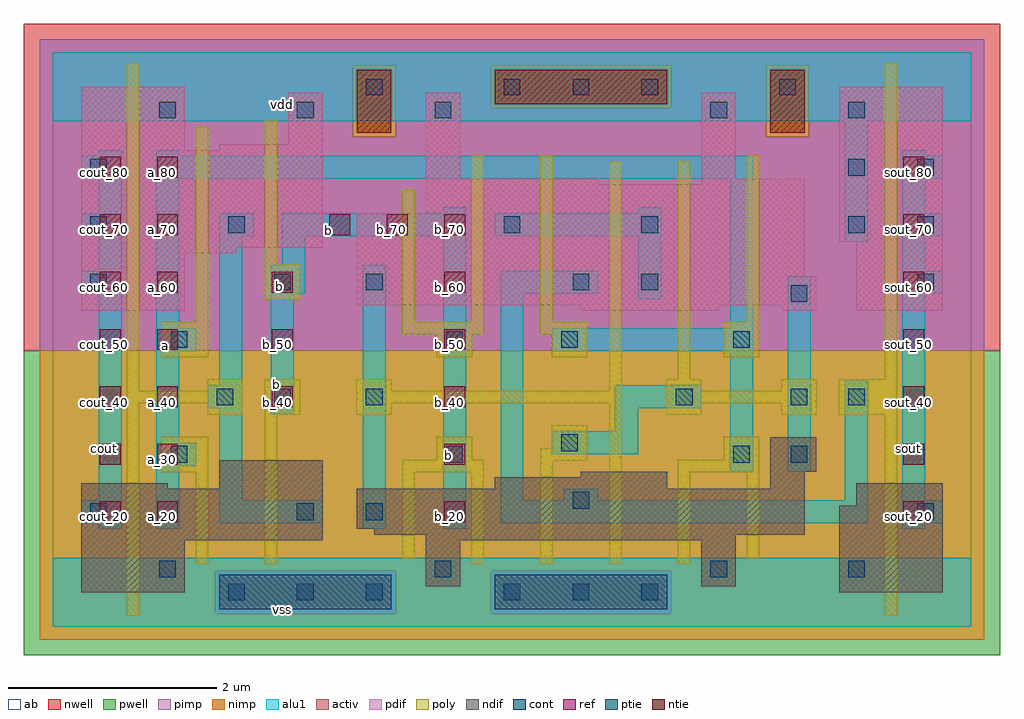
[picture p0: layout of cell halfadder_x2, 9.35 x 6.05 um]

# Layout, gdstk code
import gdstk
lib = gdstk.Library(unit=1e-6, precision=2.5e-09)
def R(c, l, rs):  # rectangles x0, y0, x1, y1
    for r in rs: c.add(gdstk.rectangle(r[:2], r[2:], *l))
def A(c, l, x, y, w, h, nx, ny, dx, dy):  # array of equal rectangles
    R(c, l, [(x+i*dx, y+j*dy, x+i*dx+w, y+j*dy+h) for i in range(nx) for j in range(ny)])
ndif = (3, 0)
pdif = (4, 0)
ntie = (5, 0)
ptie = (6, 0)
ref = (24, 0)
cont = (25, 0)
pwell = (41, 0)
nwell = (42, 0)
activ = (43, 0)
pimp = (44, 0)
nimp = (45, 0)
poly = (46, 0)
alu1 = (49, 0)
ab = (63, 0)

halfadder_x2 = lib.new_cell('halfadder_x2')
R(halfadder_x2, ndif, [(0.275,0.33,1.265,0.825), (7.535,0.33,8.525,1.155), (3.575,0.385,3.905,0.825), (6.215,0.385,6.545,0.825), (0.275,0.825,2.585,1.32), (3.575,0.825,6.545,0.88), (3.08,0.88,7.205,0.935), (2.915,0.935,7.205,1.32), (7.7,1.155,8.525,1.375), (0.275,1.32,1.1,1.375), (1.595,1.32,2.585,1.595), (4.235,1.32,5.885,1.43), (6.875,1.32,7.205,1.485), (5.06,1.43,5.885,1.485), (6.875,1.485,7.315,1.815)])
R(halfadder_x2, pdif, [(0.275,3.025,1.265,3.575), (5.06,3.025,6.38,3.08), (6.985,3.025,7.315,3.08), (7.7,3.025,8.525,3.685), (2.915,3.08,7.315,3.355), (2.915,3.355,7.205,3.96), (0.275,3.575,1.76,3.63), (0.275,3.63,2.585,4.565), (7.535,3.685,8.525,5.17), (3.575,3.96,7.205,4.235), (3.575,4.235,5.225,4.29), (6.215,4.235,7.205,4.29), (3.575,4.29,3.905,5.115), (6.215,4.29,6.545,5.115), (0.275,4.565,1.265,5.17), (1.595,4.565,2.585,4.62), (2.255,4.62,2.585,5.115)])
R(halfadder_x2, ntie, [(2.915,4.73,3.245,5.335), (6.875,4.73,7.205,5.335), (4.235,5.005,5.885,5.335)])
R(halfadder_x2, ptie, [(1.595,0.165,3.245,0.495), (4.235,0.165,5.885,0.495)])
A(halfadder_x2, ref, 0.45, 1, 0.2, 0.2, 1, 7, 0, 0.55)
A(halfadder_x2, ref, 1, 1, 0.2, 0.2, 1, 7, 0, 0.55)
A(halfadder_x2, ref, 3.75, 1, 0.2, 0.2, 1, 5, 0, 0.55)
A(halfadder_x2, ref, 8.15, 1, 0.2, 0.2, 1, 7, 0, 0.55)
A(halfadder_x2, ref, 2.1, 2.1, 0.2, 0.2, 1, 3, 0, 0.55)
A(halfadder_x2, ref, 2.65, 3.75, 0.2, 0.2, 3, 1, 0.55, 0)
A(halfadder_x2, cont, 1.68, 0.25, 0.16, 0.16, 3, 1, 0.66, 0)
A(halfadder_x2, cont, 4.32, 0.25, 0.16, 0.16, 3, 2, 0.66, 4.84)
A(halfadder_x2, cont, 1.02, 0.47, 0.16, 0.16, 3, 1, 2.64, 0)
A(halfadder_x2, cont, 7.62, 0.47, 0.16, 0.16, 1, 3, 0, 1.65)
A(halfadder_x2, cont, 3, 1.02, 0.16, 0.16, 1, 3, 0, 1.1)
A(halfadder_x2, cont, 0.36, 3.22, 0.16, 0.16, 1, 3, 0, 0.55)
A(halfadder_x2, cont, 8.28, 3.22, 0.16, 0.16, 1, 3, 0, 0.55)
A(halfadder_x2, cont, 1.02, 4.87, 0.16, 0.16, 3, 1, 1.32, 0)
R(halfadder_x2, cont, [(0.36,1.02,0.52,1.18), (2.34,1.02,2.5,1.18), (8.28,1.02,8.44,1.18), (4.98,1.13,5.14,1.29), (1.13,1.57,1.29,1.73), (3.77,1.57,3.93,1.73), (6.52,1.57,6.68,1.73), (7.07,1.57,7.23,1.73), (4.87,1.68,5.03,1.84), (1.57,2.12,1.73,2.28), (2.12,2.12,2.28,2.28), (5.97,2.12,6.13,2.28), (7.07,2.12,7.23,2.28), (1.13,2.67,1.29,2.83), (3.77,2.67,3.93,2.83), (4.87,2.67,5.03,2.83), (6.52,2.67,6.68,2.83), (7.07,3.11,7.23,3.27), (2.12,3.22,2.28,3.38), (4.98,3.22,5.14,3.38), (5.64,3.22,5.8,3.38), (1.68,3.77,1.84,3.93), (4.32,3.77,4.48,3.93), (5.64,3.77,5.8,3.93), (7.62,4.32,7.78,4.48), (6.3,4.87,6.46,5.03), (7.62,4.87,7.78,5.03), (3,5.09,3.16,5.25), (6.96,5.09,7.12,5.25)])
R(halfadder_x2, pwell, [(-0.275,-0.275,9.075,2.64)])
R(halfadder_x2, nwell, [(-0.275,2.64,9.075,5.775)])
R(halfadder_x2, activ, [(1.595,0.165,3.245,0.495), (4.235,0.165,5.885,0.495), (0.275,0.33,1.265,0.825), (7.535,0.33,8.525,1.155), (3.575,0.385,3.905,0.825), (6.215,0.385,6.545,0.825), (0.275,0.825,2.585,1.32), (3.575,0.825,6.545,0.88), (3.08,0.88,7.205,0.935), (2.915,0.935,7.205,1.32), (7.7,1.155,8.525,1.375), (0.275,1.32,1.1,1.375), (1.595,1.32,2.585,1.595), (4.235,1.32,5.885,1.43), (6.875,1.32,7.205,1.485), (5.06,1.43,5.885,1.485), (6.875,1.485,7.315,1.815), (0.275,3.025,1.265,3.575), (5.06,3.025,6.38,3.08), (6.985,3.025,7.315,3.08), (7.7,3.025,8.525,3.685), (2.915,3.08,7.315,3.355), (2.915,3.355,7.205,3.96), (0.275,3.575,1.76,3.63), (0.275,3.63,2.585,4.565), (7.535,3.685,8.525,5.17), (3.575,3.96,7.205,4.235), (3.575,4.235,5.225,4.29), (6.215,4.235,7.205,4.29), (3.575,4.29,3.905,5.115), (6.215,4.29,6.545,5.115), (0.275,4.565,1.265,5.17), (1.595,4.565,2.585,4.62), (2.255,4.62,2.585,5.115), (2.915,4.73,3.245,5.335), (6.875,4.73,7.205,5.335), (4.235,5.005,5.885,5.335)])
R(halfadder_x2, pimp, [(1.555,0.125,3.285,0.535), (4.195,0.125,5.925,0.535), (-0.125,2.64,8.925,4.69), (-0.125,4.69,2.875,5.375), (3.285,4.69,6.835,4.965), (7.245,4.69,8.925,5.375), (3.285,4.965,4.195,5.375), (5.925,4.965,6.835,5.375), (-0.125,5.375,8.925,5.625)])
R(halfadder_x2, nimp, [(-0.125,-0.125,8.925,0.125), (-0.125,0.125,1.555,0.535), (3.285,0.125,4.195,0.535), (5.925,0.125,8.925,0.535), (-0.125,0.535,8.925,2.64), (2.875,4.69,3.285,5.375), (6.835,4.69,7.245,5.375), (4.195,4.965,5.925,5.375)])
R(halfadder_x2, poly, [(0.71,0.105,0.83,2.14), (7.97,0.105,8.09,2.03), (1.37,0.6,1.49,1.48), (2.03,0.6,2.15,2.03), (4.01,0.6,4.13,1.48), (4.67,0.6,4.79,1.59), (5.33,0.6,5.45,2.14), (5.99,0.6,6.11,1.48), (3.35,0.655,3.47,1.48), (6.65,0.655,6.77,1.48), (1.04,1.48,1.49,1.82), (3.35,1.48,4.13,1.6), (5.99,1.48,6.77,1.6), (4.67,1.59,5.12,1.71), (3.68,1.6,4.02,1.82), (6.43,1.6,6.77,1.82), (4.78,1.71,5.12,1.93), (1.48,2.03,1.82,2.14), (2.03,2.03,2.37,2.37), (2.91,2.03,3.25,2.14), (5.88,2.03,6.22,2.14), (6.98,2.03,7.32,2.14), (7.53,2.03,8.09,2.37), (0.71,2.14,1.82,2.26), (2.91,2.14,5.45,2.26), (5.88,2.14,7.32,2.26), (0.71,2.26,0.83,5.395), (1.48,2.26,1.82,2.37), (2.91,2.26,3.25,2.37), (5.33,2.26,5.45,4.46), (5.88,2.26,6.22,2.37), (6.98,2.26,7.32,2.37), (5.99,2.37,6.11,4.46), (7.97,2.37,8.09,5.395), (1.04,2.58,1.49,2.92), (3.68,2.58,4.02,2.8), (4.78,2.58,5.12,2.8), (6.43,2.58,6.77,2.92), (3.35,2.8,4.13,2.92), (4.67,2.8,5.12,2.92), (1.37,2.92,1.49,4.79), (3.35,2.92,3.47,4.185), (4.01,2.92,4.13,4.515), (4.67,2.92,4.79,4.515), (6.65,2.92,6.77,4.515), (2.03,3.13,2.37,3.47), (2.03,3.47,2.15,4.845)])
A(halfadder_x2, alu1, 0.44, 1.21, 0.22, 1.98, 3, 1, 3.85, 0)
A(halfadder_x2, alu1, 0.275, 3.19, 0.385, 0.22, 1, 3, 0, 0.55)
A(halfadder_x2, alu1, 8.14, 3.19, 0.385, 0.22, 1, 3, 0, 0.55)
R(halfadder_x2, alu1, [(0,0,8.8,0.66), (0.44,0.935,0.66,0.99), (0.99,0.935,1.21,1.54), (2.97,0.935,3.19,3.465), (3.74,0.935,3.96,3.74), (8.14,0.935,8.36,0.99), (0.275,0.99,0.66,1.21), (1.595,0.99,2.585,1.21), (4.29,0.99,7.81,1.21), (8.14,0.99,8.525,1.21), (1.595,1.21,1.815,2.09), (4.895,1.21,5.225,1.32), (7.59,1.21,7.81,2.365), (6.49,1.485,6.71,2.64), (7.04,1.485,7.26,3.355), (0.99,1.54,1.375,1.76), (4.785,1.65,5.61,1.87), (0.99,1.76,1.21,2.64), (5.39,1.87,5.61,2.09), (2.09,2.035,2.31,3.19), (1.485,2.09,1.815,2.31), (5.39,2.09,6.215,2.31), (1.595,2.31,1.815,3.74), (0.99,2.64,1.375,2.86), (4.785,2.64,6.71,2.86), (0.99,2.86,1.21,4.29), (6.49,2.86,6.71,4.29), (5.61,3.135,5.83,3.74), (2.09,3.19,2.42,3.465), (4.29,3.19,5.225,3.41), (0.44,3.41,0.66,3.74), (8.14,3.41,8.36,3.74), (2.2,3.465,2.42,3.74), (7.59,3.685,7.81,4.84), (1.595,3.74,1.925,3.96), (2.2,3.74,3.96,3.96), (4.235,3.74,5.83,3.96), (0.44,3.96,0.66,4.29), (3.74,3.96,3.96,4.015), (5.61,3.96,5.83,4.015), (8.14,3.96,8.36,4.29), (0.99,4.29,6.71,4.51), (0.44,4.51,0.66,4.565), (0.99,4.51,1.21,4.565), (8.14,4.51,8.36,4.565), (0,4.84,8.8,5.5)])
R(halfadder_x2, ab, [(0,0,8.8,5.5)])
halfadder_x2.add(gdstk.Label('vss', (2.2,0.165), layer=49, texttype=0))
halfadder_x2.add(gdstk.Label('sout', (8.195,1.705), layer=49, texttype=0))
halfadder_x2.add(gdstk.Label('b', (3.795,1.635), layer=49, texttype=0))
halfadder_x2.add(gdstk.Label('b', (2.145,2.3225), layer=49, texttype=0))
halfadder_x2.add(gdstk.Label('b', (2.1725,3.2575), layer=49, texttype=0))
halfadder_x2.add(gdstk.Label('a', (1.085,2.695), layer=49, texttype=0))
halfadder_x2.add(gdstk.Label('b', (2.64,3.795), layer=49, texttype=0))
halfadder_x2.add(gdstk.Label('cout', (0.495,1.705), layer=49, texttype=0))
halfadder_x2.add(gdstk.Label('vdd', (2.2,5.005), layer=49, texttype=0))
halfadder_x2.add(gdstk.Label('b_40', (2.15,2.15), layer=24, texttype=0))
halfadder_x2.add(gdstk.Label('b_50', (2.15,2.7), layer=24, texttype=0))
halfadder_x2.add(gdstk.Label('b_60', (2.15,3.25), layer=24, texttype=0))
halfadder_x2.add(gdstk.Label('b_70', (2.7,3.8), layer=24, texttype=0))
halfadder_x2.add(gdstk.Label('b_70', (3.25,3.8), layer=24, texttype=0))
halfadder_x2.add(gdstk.Label('sout_50', (8.2,2.7), layer=24, texttype=0))
halfadder_x2.add(gdstk.Label('sout_40', (8.2,2.15), layer=24, texttype=0))
halfadder_x2.add(gdstk.Label('sout_30', (8.2,1.6), layer=24, texttype=0))
halfadder_x2.add(gdstk.Label('b_30', (3.8,1.6), layer=24, texttype=0))
halfadder_x2.add(gdstk.Label('b_40', (3.8,2.15), layer=24, texttype=0))
halfadder_x2.add(gdstk.Label('b_50', (3.8,2.7), layer=24, texttype=0))
halfadder_x2.add(gdstk.Label('b_60', (3.8,3.25), layer=24, texttype=0))
halfadder_x2.add(gdstk.Label('sout_80', (8.2,4.35), layer=24, texttype=0))
halfadder_x2.add(gdstk.Label('sout_20', (8.2,1.05), layer=24, texttype=0))
halfadder_x2.add(gdstk.Label('sout_60', (8.2,3.25), layer=24, texttype=0))
halfadder_x2.add(gdstk.Label('sout_70', (8.2,3.8), layer=24, texttype=0))
halfadder_x2.add(gdstk.Label('a_70', (1.05,3.8), layer=24, texttype=0))
halfadder_x2.add(gdstk.Label('a_80', (1.05,4.35), layer=24, texttype=0))
halfadder_x2.add(gdstk.Label('a_20', (1.05,1.05), layer=24, texttype=0))
halfadder_x2.add(gdstk.Label('a_30', (1.05,1.6), layer=24, texttype=0))
halfadder_x2.add(gdstk.Label('a_50', (1.05,2.7), layer=24, texttype=0))
halfadder_x2.add(gdstk.Label('a_40', (1.05,2.15), layer=24, texttype=0))
halfadder_x2.add(gdstk.Label('b_70', (3.8,3.8), layer=24, texttype=0))
halfadder_x2.add(gdstk.Label('b_20', (3.8,1.05), layer=24, texttype=0))
halfadder_x2.add(gdstk.Label('cout_80', (0.5,4.35), layer=24, texttype=0))
halfadder_x2.add(gdstk.Label('cout_20', (0.5,1.05), layer=24, texttype=0))
halfadder_x2.add(gdstk.Label('cout_60', (0.5,3.25), layer=24, texttype=0))
halfadder_x2.add(gdstk.Label('cout_70', (0.5,3.8), layer=24, texttype=0))
halfadder_x2.add(gdstk.Label('cout_50', (0.5,2.7), layer=24, texttype=0))
halfadder_x2.add(gdstk.Label('cout_40', (0.5,2.15), layer=24, texttype=0))
halfadder_x2.add(gdstk.Label('cout_30', (0.5,1.6), layer=24, texttype=0))
halfadder_x2.add(gdstk.Label('a_60', (1.05,3.25), layer=24, texttype=0))

lib.write_gds('halfadder_x2.gds')
